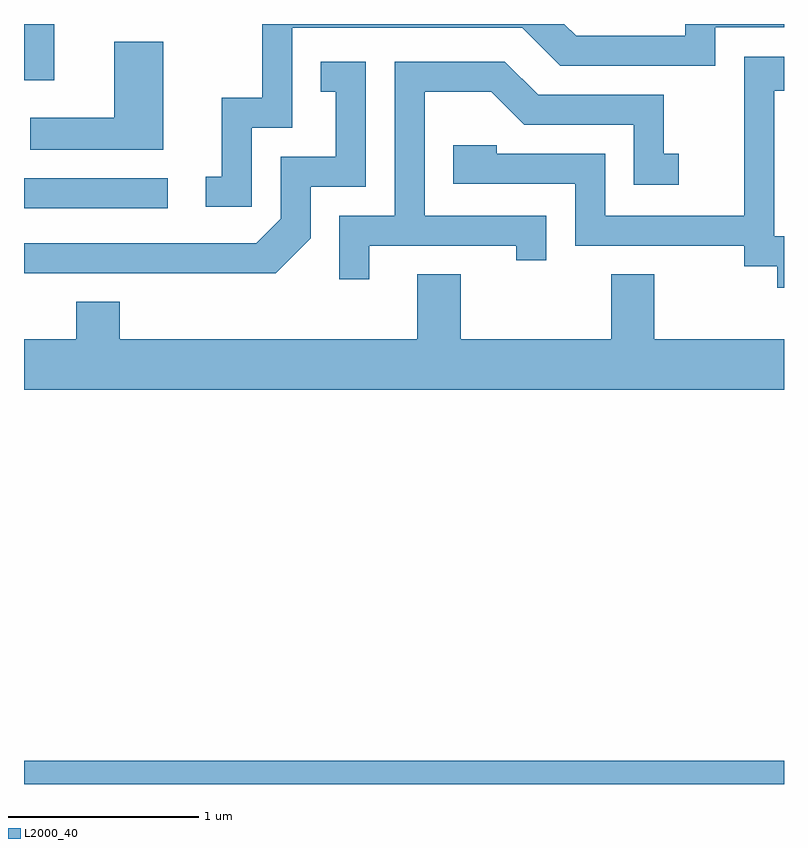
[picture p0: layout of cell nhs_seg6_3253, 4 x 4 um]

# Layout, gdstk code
import gdstk
lib = gdstk.Library(unit=1e-6, precision=1e-09)
def R(c, l, rs):  # rectangles x0, y0, x1, y1
    for r in rs: c.add(gdstk.rectangle(r[:2], r[2:], *l))
def P(c, l, *ps):  # polygons
    for p in ps: c.add(gdstk.Polygon(p, *l))
L2000_40 = (2000, 40)

nhs_seg6_3253 = lib.new_cell('nhs_seg6_3253')
R(nhs_seg6_3253, L2000_40, [(283.611,1570.162,287.611,1570.284), (283.611,1573.191,284.368,1573.349), (283.611,1573.866,283.769,1574.162)])
P(nhs_seg6_3253, L2000_40, [(284.809,1573.616),(285.024,1573.616),(285.024,1574.141),(286.234,1574.141),(286.434,1573.941),(287.249,1573.941),(287.249,1574.146),(287.611,1574.146),(287.611,1574.162),(287.091,1574.162),(287.091,1574.099),(286.517,1574.099),(286.454,1574.162),(284.866,1574.162),(284.866,1573.774),(284.651,1573.774),(284.651,1573.359),(284.568,1573.359),(284.568,1573.201),(284.809,1573.201)],
  [(284.344,1574.069),(284.086,1574.069),(284.086,1573.669),(283.643,1573.669),(283.643,1573.501),(284.344,1573.501)],
  [(287.611,1573.044),(287.559,1573.044),(287.559,1573.811),(287.611,1573.811),(287.611,1573.989),(287.401,1573.989),(287.401,1573.154),(286.669,1573.154),(286.669,1573.479),(286.099,1573.479),(286.099,1573.524),(285.871,1573.524),(285.871,1573.321),(286.511,1573.321),(286.511,1572.996),(287.401,1572.996),(287.401,1572.886),(287.576,1572.886),(287.576,1572.773),(287.611,1572.773)],
  [(285.429,1572.996),(286.201,1572.996),(286.201,1572.918),(286.359,1572.918),(286.359,1573.154),(285.719,1573.154),(285.719,1573.806),(286.069,1573.806),(286.244,1573.631),(286.821,1573.631),(286.821,1573.316),(287.058,1573.316),(287.058,1573.479),(286.979,1573.479),(286.979,1573.789),(286.317,1573.789),(286.142,1573.964),(285.561,1573.964),(285.561,1573.154),(285.271,1573.154),(285.271,1572.818),(285.429,1572.818)],
  [(285.119,1573.034),(285.119,1573.306),(285.409,1573.306),(285.409,1573.964),(285.173,1573.964),(285.173,1573.806),(285.251,1573.806),(285.251,1573.464),(284.961,1573.464),(284.961,1573.137),(284.834,1573.009),(283.611,1573.009),(283.611,1572.851),(284.937,1572.851)],
  [(287.611,1572.504),(286.929,1572.504),(286.929,1572.844),(286.701,1572.844),(286.701,1572.504),(285.909,1572.504),(285.909,1572.844),(285.681,1572.844),(285.681,1572.504),(284.114,1572.504),(284.114,1572.699),(283.886,1572.699),(283.886,1572.504),(283.611,1572.504),(283.611,1572.236),(287.611,1572.236)])

lib.write_gds('nhs_seg6_3253.gds')
